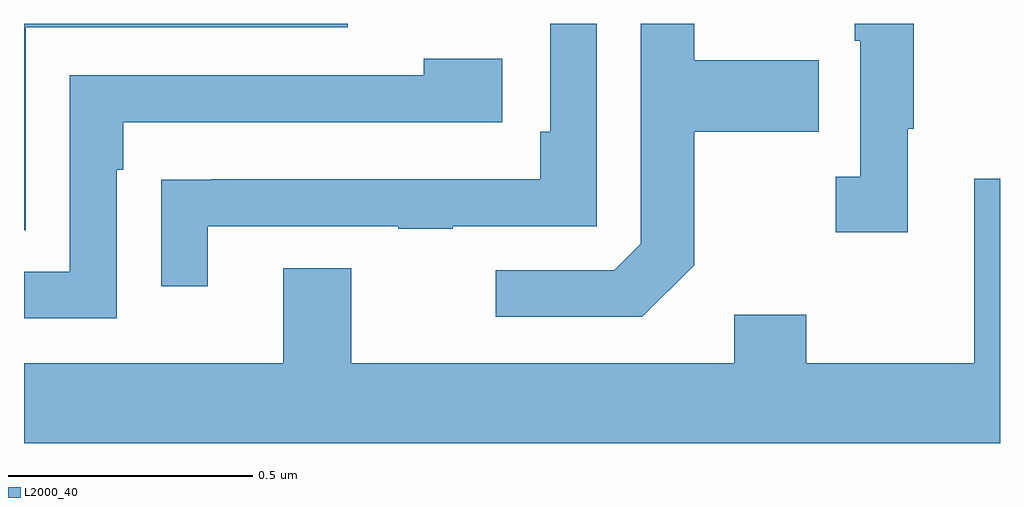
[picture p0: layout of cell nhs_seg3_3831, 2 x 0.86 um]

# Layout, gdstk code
import gdstk
lib = gdstk.Library(unit=1e-6, precision=1e-09)
def P(c, l, *ps):  # polygons
    for p in ps: c.add(gdstk.Polygon(p, *l))
L2000_40 = (2000, 40)

nhs_seg3_3831 = lib.new_cell('nhs_seg3_3831')
P(nhs_seg3_3831, L2000_40, [(159.811,744.185),(159.823,744.185),(159.823,744.4),(159.702,744.4),(159.702,744.365),(159.714,744.365),(159.714,744.086),(159.663,744.086),(159.663,743.973),(159.811,743.973)],
  [(158.377,743.985),(158.767,743.985),(158.767,743.98),(158.879,743.98),(158.879,743.985),(159.174,743.985),(159.174,744.4),(159.078,744.4),(159.078,744.178),(159.058,744.178),(159.058,744.081),(158.383,744.081),(158.383,744.08),(158.281,744.08),(158.281,743.862),(158.377,743.862)],
  [(158.004,744.393),(158.663,744.393),(158.663,744.4),(158,744.4),(158,743.977),(158.004,743.977)],
  [(159.373,743.905),(159.373,744.178),(159.629,744.178),(159.629,744.325),(159.373,744.325),(159.373,744.4),(159.264,744.4),(159.264,743.949),(159.21,743.895),(158.967,743.895),(158.967,743.799),(159.267,743.799)],
  [(158.19,744.101),(158.203,744.101),(158.203,744.198),(158.98,744.198),(158.98,744.328),(158.819,744.328),(158.819,744.294),(158.094,744.294),(158.094,743.892),(158,743.892),(158,743.796),(158.19,743.796)],
  [(160,744.082),(159.947,744.082),(159.947,743.704),(159.603,743.704),(159.603,743.803),(159.455,743.803),(159.455,743.704),(158.671,743.704),(158.671,743.899),(158.531,743.899),(158.531,743.704),(158,743.704),(158,743.54),(160,743.54)])

lib.write_gds('nhs_seg3_3831.gds')
